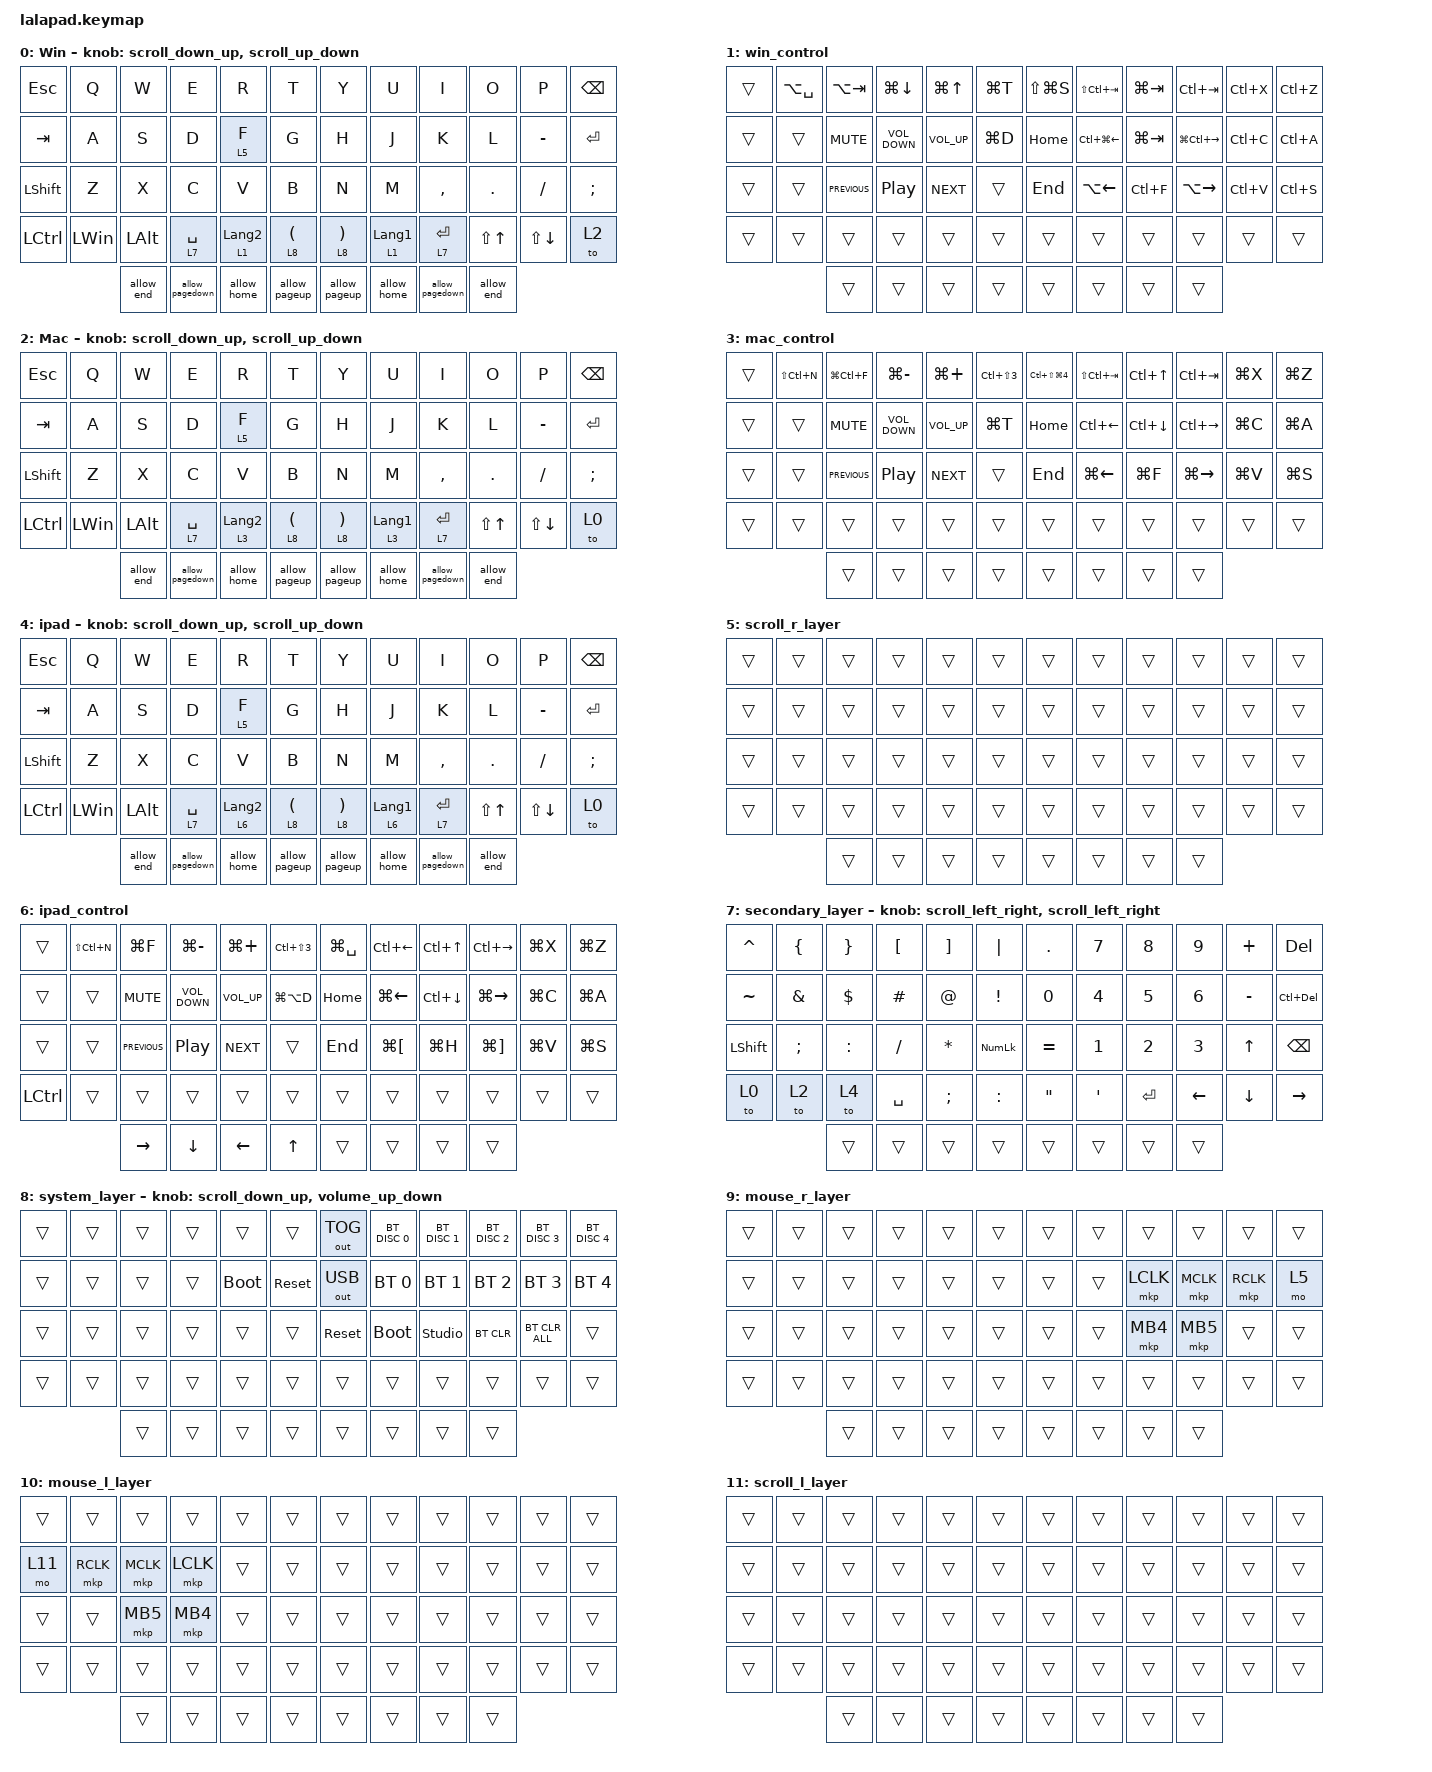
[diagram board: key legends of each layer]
#include <input/processors.dtsi>
#include <behaviors.dtsi>
#include <dt-bindings/zmk/bt.h>
#include <dt-bindings/zmk/keys.h>
#include <dt-bindings/zmk/outputs.h>
#include <dt-bindings/zmk/pointing.h>

#define DEFAULT_LAYER   0
#define SECONDARY_LAYER 1
#define TERTIARY_LAYER  2
#define SYSTEM_LAYER    3
#define MOUSE_R_LAYER   4
#define SCROLL_R_LAYER  5
#define MOUSE_L_LAYER   6
#define SCROLL_L_LAYER  7

// Mouse Scroll Value

#define ZMK_POINTING_DEFAULT_SCRL_VAL 100

// cirque trackpad input&layer control

&glidepoint_listener_R {
    input-processors =
        <&zip_xy_transform (INPUT_TRANSFORM_XY_SWAP | INPUT_TRANSFORM_X_INVERT | INPUT_TRANSFORM_Y_INVERT)>,
        <&zip_xy_scaler 3 2>;

    //<&zip_temp_layer MOUSE_R_LAYER 500>;

    lowspeedmode {
        layers = <SECONDARY_LAYER>;
        input-processors =
            <&zip_xy_transform (INPUT_TRANSFORM_XY_SWAP | INPUT_TRANSFORM_X_INVERT | INPUT_TRANSFORM_Y_INVERT)>,
            <&zip_xy_scaler 3 5>;

        //<&zip_temp_layer MOUSE_R_LAYER 500>;
    };

    scroller {
        layers = <SCROLL_R_LAYER>;
        input-processors =
            <&zip_xy_to_scroll_mapper>,
            <&zip_scroll_transform (INPUT_TRANSFORM_XY_SWAP | INPUT_TRANSFORM_Y_INVERT)>,
            <&zip_scroll_scaler 1 8>;
    };
};

&glidepoint_listener_L {
    input-processors =
        <&zip_xy_transform (INPUT_TRANSFORM_XY_SWAP | INPUT_TRANSFORM_X_INVERT | INPUT_TRANSFORM_Y_INVERT)>,
        <&zip_xy_scaler 3 2>;

    //<&zip_temp_layer MOUSE_R_LAYER 500>;

    lowspeedmode {
        layers = <SECONDARY_LAYER>;
        input-processors =
            <&zip_xy_transform (INPUT_TRANSFORM_XY_SWAP | INPUT_TRANSFORM_X_INVERT | INPUT_TRANSFORM_Y_INVERT)>,
            <&zip_xy_scaler 3 4>;

        //<&zip_temp_layer MOUSE_R_LAYER 500>;
    };

    scroller {
        layers = <SCROLL_L_LAYER>;
        input-processors =
            <&zip_xy_to_scroll_mapper>,
            <&zip_scroll_transform (INPUT_TRANSFORM_XY_SWAP | INPUT_TRANSFORM_Y_INVERT)>,
            <&zip_scroll_scaler 1 6>;
    };
};

/ {
    behaviors {
        // Encoder to Mouse Scroll

        scroll_up_down: sensor_scroll_up_down {
            compatible = "zmk,behavior-sensor-rotate";
            #sensor-binding-cells = <0>;
            bindings = <&msc SCRL_UP>, <&msc SCRL_DOWN>;

            tap-ms = <20>;
            label = "SCROLL_UP_DOWN";
        };

        scroll_down_up: sensor_scroll_down_up {
            compatible = "zmk,behavior-sensor-rotate";
            #sensor-binding-cells = <0>;
            bindings = <&msc SCRL_DOWN>, <&msc SCRL_UP>;

            tap-ms = <20>;
            label = "SCROLL_DOWN_UP";
        };

        scroll_left_right: sensor_scroll_left_right {
            compatible = "zmk,behavior-sensor-rotate";
            #sensor-binding-cells = <0>;
            bindings = <&msc SCRL_LEFT>, <&msc SCRL_RIGHT>;

            tap-ms = <20>;
            label = "SCROLL_LEFT_RIGHT";
        };

        scroll_right_left: sensor_scroll_right_left {
            compatible = "zmk,behavior-sensor-rotate";
            #sensor-binding-cells = <0>;
            bindings = <&msc SCRL_RIGHT>, <&msc SCRL_LEFT>;

            tap-ms = <20>;
            label = "SCROLL_RIGHT_LEFT";
        };

        volume_up_down: sensor_volume_up_down {
            compatible = "zmk,behavior-sensor-rotate";
            #sensor-binding-cells = <0>;
            bindings = <&kp C_VOLUME_UP>, <&kp C_VOLUME_DOWN>;

            tap-ms = <20>;
            label = "VOLUME_UP_DOWN";
        };

        dot_comma: dot_comma {
            compatible = "zmk,behavior-mod-morph";
            #binding-cells = <0>;
            bindings = <&kp KP_DOT>, <&kp COMMA>;

            mods = <(MOD_LSFT|MOD_RSFT)>;
            label = "DOT_COMMA";
        };

        pls_minus: pls_minus {
            compatible = "zmk,behavior-mod-morph";
            #binding-cells = <0>;
            bindings = <&kp PLUS>, <&kp MINUS>;

            mods = <(MOD_LSFT|MOD_RSFT)>;
            label = "PLS_MINUS";
        };

        allow_pageup: allow_pageup {
            compatible = "zmk,behavior-mod-morph";
            #binding-cells = <0>;
            bindings = <&kp UP>, <&kp PAGE_UP>;

            mods = <(MOD_LCTL|MOD_RCTL)>;
            label = "ALLOW_PAGEUP";
        };

        allow_pagedown: allow_pagedown {
            compatible = "zmk,behavior-mod-morph";
            #binding-cells = <0>;
            bindings = <&kp DOWN>, <&kp PAGE_DOWN>;

            mods = <(MOD_LCTL|MOD_RCTL)>;
            label = "ALLOW_PAGEDOWN";
        };

        allow_home: allow_home {
            compatible = "zmk,behavior-mod-morph";
            #binding-cells = <0>;
            bindings = <&kp LEFT>, <&kp HOME>;

            mods = <(MOD_LCTL|MOD_RCTL)>;
            label = "ALLOW_HOME";
        };

        allow_end: allow_end {
            compatible = "zmk,behavior-mod-morph";
            #binding-cells = <0>;
            bindings = <&kp RIGHT>, <&kp END>;

            mods = <(MOD_LCTL|MOD_RCTL)>;
            label = "ALLOW_END";
        };

        mt2: mod_tap2 {
            compatible = "zmk,behavior-hold-tap";
            #binding-cells = <2>;
            flavor = "tap-preferred";
            tapping-term-ms = <200>;
            quick-tap-ms = <200>;
            require-prior-idle-ms = <125>;
            bindings = <&kp>, <&kp>;
        };
    };

    combos {
        compatible = "zmk,combos";

        mb1 {
            bindings = <&mkp MB1>;
            key-positions = <20 21>;
        };

        mb2 {
            bindings = <&mkp MB2>;
            key-positions = <21 22>;
        };

        mb1_2 {
            bindings = <&mkp MB1>;
            key-positions = <45 46>;
        };

        mb2_2 {
            bindings = <&mkp MB2>;
            key-positions = <46 47>;
        };

        mb3 {
            bindings = <&mkp MB3>;
            key-positions = <20 22>;
        };

        mb3_2 {
            bindings = <&mkp MB3>;
            key-positions = <45 47>;
        };

        mb_m3 {
            bindings = <&mkp MB1>;
            key-positions = <19 20>;
        };
    };

    keymap {
        compatible = "zmk,keymap";

        DEFAULT_LAYER {
            display-name = "Win";
            sensor-bindings = <&scroll_down_up>, <&scroll_up_down>;

            bindings = <
&kp ESC    &kp Q         &kp W         &kp E            &kp R             &kp T                   &kp Y                    &kp U             &kp I            &kp O             &kp P               &kp BACKSPACE
&kp TAB    &kp A         &kp S         &kp D            &lt 5 F           &kp G                   &kp H                    &kp J             &kp K            &kp L             &kp MINUS           &kp ENTER
&kp LSHFT  &kp Z         &kp X         &kp C            &kp V             &kp B                   &kp N                    &kp M             &kp COMMA        &kp PERIOD        &kp SLASH           &kp SEMICOLON
&kp LCTRL  &kp LEFT_WIN  &kp LEFT_ALT  &lt 7 SPACE      &lt 1 LANGUAGE_2  &lt 8 LEFT_PARENTHESIS  &lt 8 RIGHT_PARENTHESIS  &lt 1 LANGUAGE_1  &lt 7 ENTER      &kp LS(UP_ARROW)  &kp LS(DOWN_ARROW)  &to 2
                         &allow_end    &allow_pagedown  &allow_home       &allow_pageup           &allow_pageup            &allow_home       &allow_pagedown  &allow_end
            >;
        };

        win_Control {
            display-name = "win_control";
            bindings = <
&trans  &kp LA(SPACE)  &kp LA(TAB)     &kp LG(DOWN_ARROW)  &kp LG(UP_ARROW)  &kp LG(T)  &kp LS(LG(S))  &kp LS(LC(TAB))         &kp LG(TAB)  &kp LC(TAB)          &kp LC(X)  &kp LC(Z)
&trans  &trans         &kp C_MUTE      &kp C_VOLUME_DOWN   &kp C_VOLUME_UP   &kp LG(D)  &kp HOME       &kp LC(LG(LEFT_ARROW))  &kp LG(TAB)  &kp LG(LC(RIGHT))    &kp LC(C)  &kp LC(A)
&trans  &trans         &kp C_PREVIOUS  &kp C_PLAY_PAUSE    &kp C_NEXT        &trans     &kp END        &kp LA(LEFT_ARROW)      &kp LC(F)    &kp LA(RIGHT_ARROW)  &kp LC(V)  &kp LC(S)
&trans  &trans         &trans          &trans              &trans            &trans     &trans         &trans                  &trans       &trans               &trans     &trans
                       &trans          &trans              &trans            &trans     &trans         &trans                  &trans       &trans
            >;
        };

        mac_layer {
            display-name = "Mac";
            bindings = <
&kp ESC    &kp Q         &kp W         &kp E            &kp R             &kp T                   &kp Y                    &kp U             &kp I            &kp O             &kp P               &kp BACKSPACE
&kp TAB    &kp A         &kp S         &kp D            &lt 5 F           &kp G                   &kp H                    &kp J             &kp K            &kp L             &kp MINUS           &kp ENTER
&kp LSHFT  &kp Z         &kp X         &kp C            &kp V             &kp B                   &kp N                    &kp M             &kp COMMA        &kp PERIOD        &kp SLASH           &kp SEMICOLON
&kp LCTRL  &kp LEFT_WIN  &kp LEFT_ALT  &lt 7 SPACE      &lt 3 LANGUAGE_2  &lt 8 LEFT_PARENTHESIS  &lt 8 RIGHT_PARENTHESIS  &lt 3 LANGUAGE_1  &lt 7 ENTER      &kp LS(UP_ARROW)  &kp LS(DOWN_ARROW)  &to 0
                         &allow_end    &allow_pagedown  &allow_home       &allow_pageup           &allow_pageup            &allow_home       &allow_pagedown  &allow_end
            >;

            sensor-bindings = <&scroll_down_up>, <&scroll_up_down>;
        };

        mac_Control {
            display-name = "mac_control";
            bindings = <
&trans  &kp LS(LC(N))  &kp LG(LC(F))   &kp LG(MINUS)      &kp LG(PLUS)     &kp LC(LS(NUMBER_3))  &kp LC(LS(LG(NUMBER_4)))  &kp LS(LC(TAB))     &kp LC(UP_ARROW)    &kp LC(TAB)          &kp LG(X)  &kp LG(Z)
&trans  &trans         &kp C_MUTE      &kp C_VOLUME_DOWN  &kp C_VOLUME_UP  &kp LG(T)             &kp HOME                  &kp LC(LEFT_ARROW)  &kp LC(DOWN_ARROW)  &kp LC(RIGHT)        &kp LG(C)  &kp LG(A)
&trans  &trans         &kp C_PREVIOUS  &kp C_PLAY_PAUSE   &kp C_NEXT       &trans                &kp END                   &kp LG(LEFT_ARROW)  &kp LG(F)           &kp LG(RIGHT_ARROW)  &kp LG(V)  &kp LG(S)
&trans  &trans         &trans          &trans             &trans           &trans                &trans                    &trans              &trans              &trans               &trans     &trans
                       &trans          &trans             &trans           &trans                &trans                    &trans              &trans              &trans
            >;
        };

        ipad_layer {
            display-name = "ipad";
            bindings = <
&kp ESC    &kp Q         &kp W         &kp E            &kp R             &kp T                   &kp Y                    &kp U             &kp I            &kp O             &kp P               &kp BACKSPACE
&kp TAB    &kp A         &kp S         &kp D            &lt 5 F           &kp G                   &kp H                    &kp J             &kp K            &kp L             &kp MINUS           &kp ENTER
&kp LSHFT  &kp Z         &kp X         &kp C            &kp V             &kp B                   &kp N                    &kp M             &kp COMMA        &kp PERIOD        &kp SLASH           &kp SEMICOLON
&kp LCTRL  &kp LEFT_WIN  &kp LEFT_ALT  &lt 7 SPACE      &lt 6 LANGUAGE_2  &lt 8 LEFT_PARENTHESIS  &lt 8 RIGHT_PARENTHESIS  &lt 6 LANGUAGE_1  &lt 7 ENTER      &kp LS(UP_ARROW)  &kp LS(DOWN_ARROW)  &to 0
                         &allow_end    &allow_pagedown  &allow_home       &allow_pageup           &allow_pageup            &allow_home       &allow_pagedown  &allow_end
            >;

            sensor-bindings = <&scroll_down_up>, <&scroll_up_down>;
        };

        SCROLL_R_LAYER {
            display-name = "scroll_r_layer";
            bindings = <
&trans  &trans  &trans  &trans  &trans  &trans  &trans  &trans  &trans  &trans  &trans  &trans
&trans  &trans  &trans  &trans  &trans  &trans  &trans  &trans  &trans  &trans  &trans  &trans
&trans  &trans  &trans  &trans  &trans  &trans  &trans  &trans  &trans  &trans  &trans  &trans
&trans  &trans  &trans  &trans  &trans  &trans  &trans  &trans  &trans  &trans  &trans  &trans
                &trans  &trans  &trans  &trans  &trans  &trans  &trans  &trans
            >;
        };

        ipad_contol {
            display-name = "ipad_control";
            bindings = <
&trans            &kp LS(LC(N))  &kp LG(F)        &kp LG(MINUS)      &kp LG(PLUS)     &kp LC(LS(NUMBER_3))  &kp LG(SPACE)  &kp LC(LEFT_ARROW)    &kp LC(UP_ARROW)    &kp LC(RIGHT_ARROW)    &kp LG(X)  &kp LG(Z)
&trans            &trans         &kp C_MUTE       &kp C_VOLUME_DOWN  &kp C_VOLUME_UP  &kp LG(LA(D))         &kp HOME       &kp LG(LEFT_ARROW)    &kp LC(DOWN_ARROW)  &kp LG(RIGHT)          &kp LG(C)  &kp LG(A)
&trans            &trans         &kp C_PREVIOUS   &kp C_PLAY_PAUSE   &kp C_NEXT       &trans                &kp END        &kp LG(LEFT_BRACKET)  &kp LG(H)           &kp LG(RIGHT_BRACKET)  &kp LG(V)  &kp LG(S)
&kp LEFT_CONTROL  &trans         &trans           &trans             &trans           &trans                &trans         &trans                &trans              &trans                 &trans     &trans
                                 &kp RIGHT_ARROW  &kp DOWN_ARROW     &kp LEFT_ARROW   &kp UP_ARROW          &trans         &trans                &trans              &trans
            >;
        };

        NUM {
            display-name = "secondary_layer";
            sensor-bindings = <&scroll_left_right>, <&scroll_left_right>;

            bindings = <
&kp CARET       &kp LEFT_BRACE  &kp RIGHT_BRACE  &kp LEFT_BRACKET  &kp RIGHT_BRACKET  &kp PIPE         &kp DOT            &kp NUMBER_7      &kp NUMBER_8  &kp NUMBER_9    &kp PLUS        &kp DELETE
&kp TILDE       &kp AMPERSAND   &kp DOLLAR       &kp HASH          &kp AT_SIGN        &kp EXCLAMATION  &kp NUMBER_0       &kp NUMBER_4      &kp NUMBER_5  &kp NUMBER_6    &kp MINUS       &kp LC(DEL)
&kp LEFT_SHIFT  &kp SEMICOLON   &kp COLON        &kp SLASH         &kp ASTERISK       &kp KP_NUMLOCK   &kp EQUAL          &kp NUMBER_1      &kp NUMBER_2  &kp NUMBER_3    &kp UP_ARROW    &kp BACKSPACE
&to 0           &to 2           &to 4            &kp SPACE         &kp SEMICOLON      &kp COLON        &kp DOUBLE_QUOTES  &kp SINGLE_QUOTE  &kp ENTER     &kp LEFT_ARROW  &kp DOWN_ARROW  &kp RIGHT
                                &trans           &trans            &trans             &trans           &trans             &trans            &trans        &trans
            >;
        };

        SYSTEM_LAYER {
            display-name = "system_layer";
            sensor-bindings = <&scroll_down_up>, <&volume_up_down>;

            bindings = <
&trans  &trans  &trans  &trans  &trans       &trans      &out OUT_TOG  &bt BT_DISC 0  &bt BT_DISC 1   &bt BT_DISC 2  &bt BT_DISC 3   &bt BT_DISC 4
&trans  &trans  &trans  &trans  &bootloader  &sys_reset  &out OUT_USB  &bt BT_SEL 0   &bt BT_SEL 1    &bt BT_SEL 2   &bt BT_SEL 3    &bt BT_SEL 4
&trans  &trans  &trans  &trans  &trans       &trans      &sys_reset    &bootloader    &studio_unlock  &bt BT_CLR     &bt BT_CLR_ALL  &trans
&trans  &trans  &trans  &trans  &trans       &trans      &trans        &trans         &trans          &trans         &trans          &trans
                &trans  &trans  &trans       &trans      &trans        &trans         &trans          &trans
            >;
        };

        MOUSE_R_LAYER {
            display-name = "mouse_r_layer";
            bindings = <
&trans  &trans  &trans  &trans  &trans  &trans  &trans  &trans  &trans     &trans     &trans     &trans
&trans  &trans  &trans  &trans  &trans  &trans  &trans  &trans  &mkp LCLK  &mkp MCLK  &mkp RCLK  &mo 5
&trans  &trans  &trans  &trans  &trans  &trans  &trans  &trans  &mkp MB4   &mkp MB5   &trans     &trans
&trans  &trans  &trans  &trans  &trans  &trans  &trans  &trans  &trans     &trans     &trans     &trans
                &trans  &trans  &trans  &trans  &trans  &trans  &trans     &trans
            >;
        };

        MOUSE_L_LAYER {
            display-name = "mouse_l_layer";
            bindings = <
&trans  &trans     &trans     &trans     &trans  &trans  &trans  &trans  &trans  &trans  &trans  &trans
&mo 11  &mkp RCLK  &mkp MCLK  &mkp LCLK  &trans  &trans  &trans  &trans  &trans  &trans  &trans  &trans
&trans  &trans     &mkp MB5   &mkp MB4   &trans  &trans  &trans  &trans  &trans  &trans  &trans  &trans
&trans  &trans     &trans     &trans     &trans  &trans  &trans  &trans  &trans  &trans  &trans  &trans
                   &trans     &trans     &trans  &trans  &trans  &trans  &trans  &trans
            >;
        };

        SCROLL_L_LAYER {
            display-name = "scroll_l_layer";
            bindings = <
&trans  &trans  &trans  &trans  &trans  &trans  &trans  &trans  &trans  &trans  &trans  &trans
&trans  &trans  &trans  &trans  &trans  &trans  &trans  &trans  &trans  &trans  &trans  &trans
&trans  &trans  &trans  &trans  &trans  &trans  &trans  &trans  &trans  &trans  &trans  &trans
&trans  &trans  &trans  &trans  &trans  &trans  &trans  &trans  &trans  &trans  &trans  &trans
                &trans  &trans  &trans  &trans  &trans  &trans  &trans  &trans
            >;
        };
    };
};
